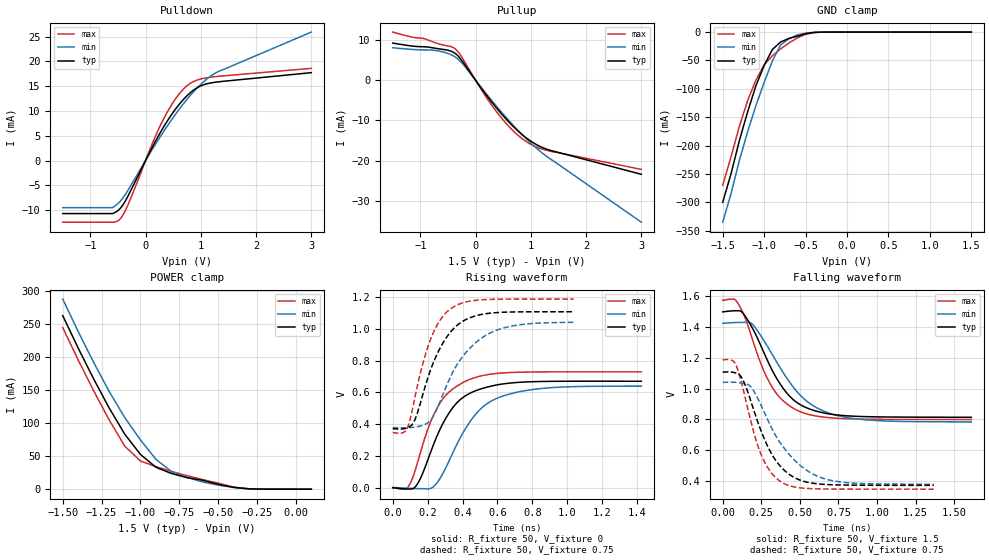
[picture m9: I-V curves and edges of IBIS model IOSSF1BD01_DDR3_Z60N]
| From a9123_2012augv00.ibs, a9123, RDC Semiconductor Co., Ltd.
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[Model]   IOSSF1BD01_DDR3_Z60N
|   IOSSF1BD01_DDR3_Z60N  MODEL
|   DATE   :  2009/9/1 ;
|   REVISION :  0.1.1 ;
|   Model generated   Tue Sep  1 16:56:43 2009
Model_type  I/O
Polarity   Inverting
Enable   Active-Low
| Signals
Vinl = 0.575
Vinh = 0.925
Vmeas = 0.750
| variable   typ   min   max
C_comp   3.3322pf   3.0011pf   4.0232pf
[Model Spec]
|   Subparameter   typ   min   max
Vinh   0.925  0.887500  0.962500
Vinl   0.575  0.537500  0.612500
Vmeas   0.750  0.712500  0.787500
[Temperature Range]   25   125   -40
|   typ   min   max
[Voltage Range]   1.5V   1.425V   1.575V
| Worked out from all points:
|   slope of the pulldown table from 0 to 0.225 V, typ, clamps not added: 46.7 ohm
|   slope of the pullup table from 0 to 0.225 V, typ, clamps not added: 53 ohm
|   GND clamp passes 1 mA (typ) near -0.42 V on its own axis
|   POWER clamp passes 1 mA (typ) near -0.32 V on its own axis
|   rising waveform, R_fixture 50, V_fixture 0: 20-80 % time 182ps typ, 214ps min, 167ps max; typ from 0 V to 0.67 V
|   falling waveform, R_fixture 50, V_fixture 1.5: 20-80 % time 225ps typ, 276ps min, 199ps max; typ from 1.5 V to 0.814 V
|   rising waveform, R_fixture 50, V_fixture 0.75: 20-80 % time 163ps typ, 212ps min, 135ps max; typ from 0.371 V to 1.11 V
|   falling waveform, R_fixture 50, V_fixture 0.75: 20-80 % time 186ps typ, 250ps min, 149ps max; typ from 1.11 V to 0.372 V
[Pulldown]
|   Voltage   I(typ)   I(min)   I(max)
-1.5V     -10.71mA   -9.513mA   -12.44mA
-600mV    -10.71mA   -9.513mA   -12.44mA
-510mV    -10.19mA   -8.788mA   -12.24mA
-450mV    -9.544mA   -8.111mA   -11.65mA
-330mV    -7.417mA   -6.212mA   -9.225mA
120mV     2.648mA    2.213mA    3.377mA
330mV     6.829mA    5.898mA    8.464mA
570mV     10.78mA    9.758mA    12.88mA
810mV     13.67mA    13.14mA    15.57mA
1.02V     15.15mA    15.58mA    16.5mA
1.29V     15.83mA    17.79mA    16.95mA
3V        17.72mA    25.91mA    18.59mA
[GND Clamp]
|   Voltage   I(typ)   I(min)   I(max)
-1.5V     -300mA     -335mA     -270mA
-1.4V     -250mA     -285mA     -220mA
-1.3V     -191.7mA   -226.7mA   -166.7mA
-1.2V     -140.9mA   -175.9mA   -120.9mA
-1.1V     -94.77mA   -129.8mA   -84.77mA
-1V       -58.82mA   -88.82mA   -57.82mA
-900mV    -30.53mA   -50.53mA   -41.53mA
-800mV    -17.35mA   -22.35mA   -29.48mA
-700mV    -11.13mA   -11.7mA    -19.21mA
-600mV    -7.283mA   -5.004mA   -10.38mA
-400mV    -644.1uA   -458uA     -833.8uA
1.5V      0A         0A         0A
[Pullup]
|   Voltage   I(typ)   I(min)   I(max)
|( VDD-Vmeas )
-1.5V     9.275mA    8.11mA     12.01mA
-940mV    8.355mA    7.574mA    10.39mA
-700mV    7.916mA    7.376mA    9.228mA
-380mV    6.804mA    5.891mA    7.967mA
-300mV    5.808mA    5.045mA    6.813mA
-220mV    4.369mA    3.868mA    5.092mA
140mV     -2.684mA   -2.452mA   -3.107mA
420mV     -7.593mA   -7.146mA   -8.56mA
700mV     -11.76mA   -11.5mA    -12.86mA
980mV     -14.98mA   -15.4mA    -15.8mA
1.34V     -17.41mA   -19.49mA   -17.64mA
3V        -23.43mA   -35.37mA   -22.21mA
[POWER Clamp]
|   Voltage   I(typ)   I(min)   I(max)
|( VDD-Vmeas )
-1.5V     262.4mA    287.4mA    244.4mA
-1.3V     166.3mA    191.3mA    148.3mA
-1.2V     122.3mA    147.3mA    104.3mA
-1.1V     82.94mA    107.9mA    64.94mA
-1V       52.6mA     74.6mA     42.6mA
-900mV    33.04mA    45.04mA    34.04mA
-800mV    23.77mA    26.77mA    26.77mA
-700mV    17.35mA    17.85mA    20.35mA
-600mV    13.5mA     10.81mA    14.5mA
-400mV    2.711mA    2.613mA    3.098mA
-300mV    444.6uA    639.1uA    369.4uA
100mV     0A         0A         0A
[Rising Waveform]
R_fixture = 50
V_fixture = 0
V_fixture_min = 0
V_fixture_max = 0
C_fixture = 0
L_fixture = 0
|   Time   V(typ)   V(min)   V(max)
0s        351.3uV    993.5uV    470.8uV
72ps      -7.671mV   -2.309mV   -8.524mV
96ps      -8.249mV   -3.628mV   17.78mV
152ps     43.67mV    -5.783mV   195.7mV
232ps     266.4mV    5.29mV     452.7mV
328ps     479.1mV    181mV      606.6mV
424ps     583.2mV    384.3mV    673.2mV
536ps     631.4mV    525.3mV    710mV
696ps     660.7mV    596.7mV    725.6mV
1.424ns   669.8mV    638.8mV    728.8mV
[Falling Waveform]
R_fixture = 50
V_fixture = 1.5
V_fixture_min = 1.425
V_fixture_max = 1.575
C_fixture = 0
L_fixture = 0
|   Time   V(typ)   V(min)   V(max)
0s        1.5V       1.425V     1.575V
90ps      1.507V     1.431V     1.568V
126ps     1.497V     1.431V     1.505V
189ps     1.401V     1.423V     1.332V
261ps     1.248V     1.323V     1.129V
324ps     1.114V     1.218V     1.005V
486ps     906.9mV    975.6mV    858mV
621ps     850.6mV    869.9mV    820.1mV
801ps     824.3mV    813.5mV    805.1mV
1.611ns   814.5mV    784.6mV    800.1mV
[Rising Waveform]
R_fixture = 50
V_fixture = 0.75
V_fixture_min = 0.7125
V_fixture_max = 0.7875
C_fixture = 0
L_fixture = 0
|   Time   V(typ)   V(min)   V(max)
0s        371.3mV    378.2mV    346.9mV
77ps      374.4mV    377.1mV    361.9mV
119ps     409.3mV    380.3mV    524.8mV
168ps     568.8mV    391.7mV    762.1mV
217ps     741.8mV    423.9mV    933.2mV
273ps     881.1mV    547.1mV    1.057V
329ps     976.2mV    692.4mV    1.123V
434ps     1.065V     868.2mV    1.172V
567ps     1.099V     977.8mV    1.185V
1.036ns   1.107V     1.04V      1.187V
[Falling Waveform]
R_fixture = 50
V_fixture = 0.75
V_fixture_min = 0.7125
V_fixture_max = 0.7875
C_fixture = 0
L_fixture = 0
|   Time   V(typ)   V(min)   V(max)
0s        1.107V     1.041V     1.187V
88ps      1.101V     1.041V     1.15V
128ps     1.063V     1.036V     1.015V
184ps     914.2mV    1.01V      782.6mV
224ps     793.5mV    943.5mV    640.4mV
272ps     668.4mV    840.9mV    522.2mV
384ps     484.9mV    632.2mV    390.9mV
520ps     399.5mV    486.9mV    353.5mV
672ps     377.2mV    411.2mV    347.9mV
1.368ns   371.8mV    378.7mV    346.9mV
[Ramp]
| variables   typ   min   max
dV/dt_r   0.401788/181.906p 0.382927/213.634p 0.43731/166.946p
dV/dt_f   0.411444/224.986p 0.384222/275.881p 0.465012/199.304p
R_load   = 50.000000 | Ohms
| [End Model]
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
